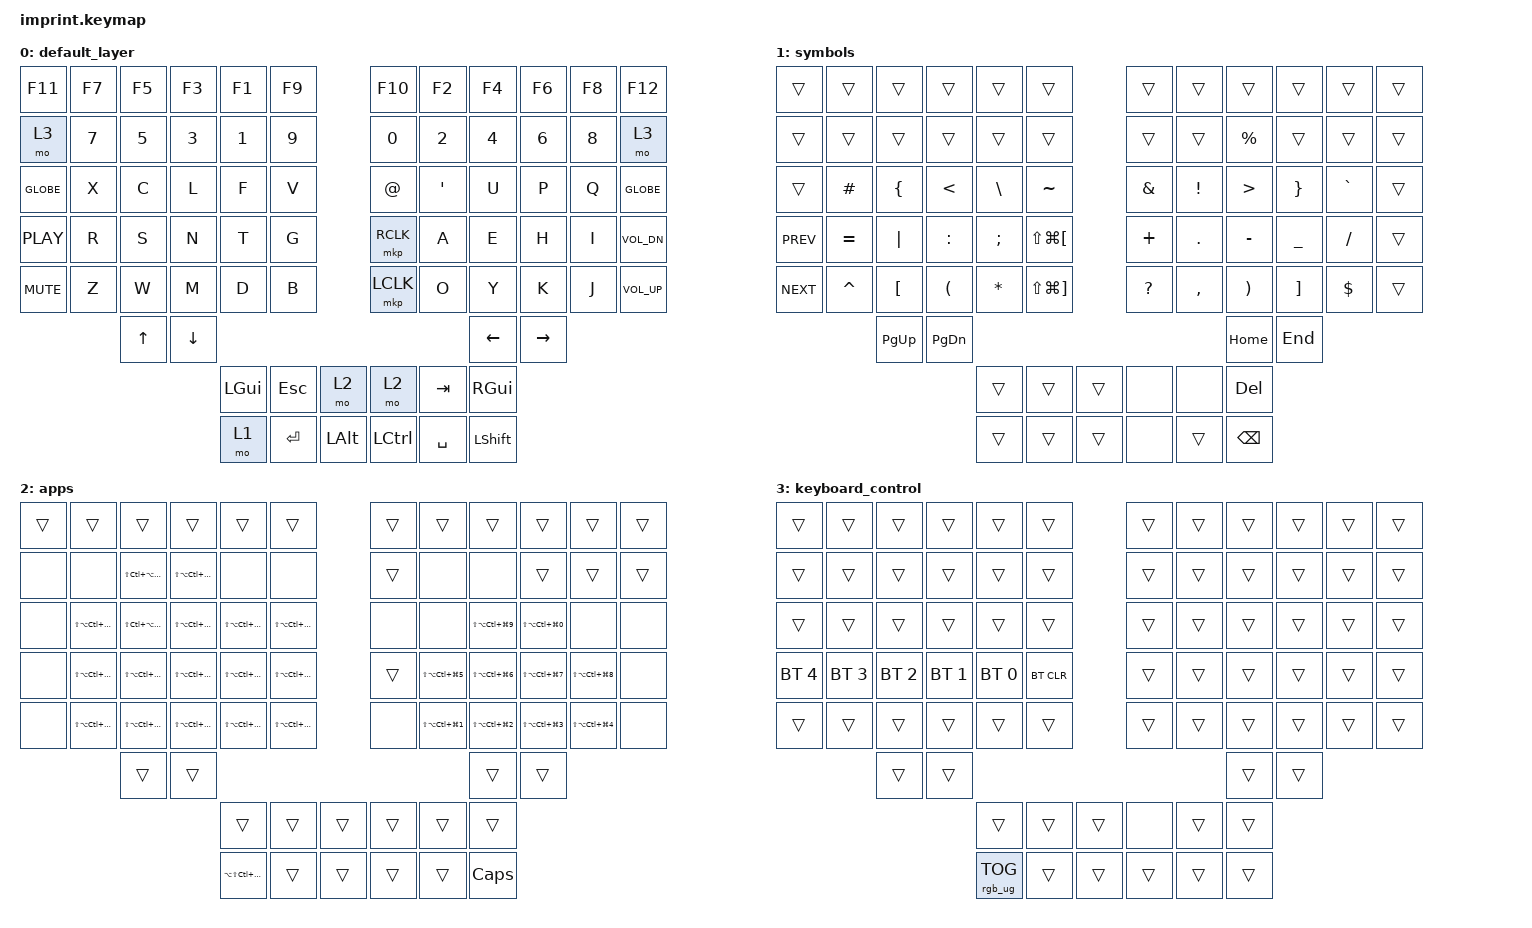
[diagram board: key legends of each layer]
#include <input/processors.dtsi>
#include <dt-bindings/zmk/input_transform.h>
#include <behaviors.dtsi>
#include <dt-bindings/zmk/bt.h>
#include <dt-bindings/zmk/keys.h>
#include <dt-bindings/zmk/pointing.h>
#include <dt-bindings/zmk/rgb.h>

/ {
    chosen { zmk,matrix-transform = &imprint_function_row; };

    keymap {
        compatible = "zmk,keymap";

        default_layer {
            bindings = <
&kp F11     &kp F7  &kp F5  &kp F3    &kp F1    &kp F9               &kp F10    &kp F2     &kp F4      &kp F6     &kp F8  &kp F12
&mo 3       &kp N7  &kp N5  &kp N3    &kp N1    &kp N9               &kp N0     &kp N2     &kp N4      &kp N6     &kp N8  &mo 3
&kp GLOBE   &kp X   &kp C   &kp L     &kp F     &kp V                &kp AT     &kp SQT    &kp U       &kp P      &kp Q   &kp GLOBE
&kp C_PLAY  &kp R   &kp S   &kp N     &kp T     &kp G                &mkp RCLK  &kp A      &kp E       &kp H      &kp I   &kp C_VOL_DN
&kp K_MUTE  &kp Z   &kp W   &kp M     &kp D     &kp B                &mkp LCLK  &kp O      &kp Y       &kp K      &kp J   &kp C_VOLUME_UP
                    &kp UP  &kp DOWN                                                       &kp LEFT    &kp RIGHT
                                      &kp LGUI  &kp ESC  &mo 2       &mo 2      &kp TAB    &kp RGUI
                                      &mo 1     &kp RET  &kp LALT    &kp LCTRL  &kp SPACE  &kp LSHIFT
            >;
        };

        symbols {
            bindings = <
&trans      &trans     &trans            &trans                &trans        &trans                               &trans        &trans      &trans                 &trans             &trans      &trans
&trans      &trans     &trans            &trans                &trans        &trans                               &trans        &trans      &kp PERCENT            &trans             &trans      &trans
&trans      &kp HASH   &kp LEFT_BRACE    &kp LESS_THAN         &kp BSLH      &kp TILDE                            &kp AMPS      &kp EXCL    &kp GREATER_THAN       &kp RIGHT_BRACE    &kp GRAVE   &trans
&kp C_PREV  &kp EQUAL  &kp PIPE          &kp COLON             &kp SEMI      &kp LS(LG(LEFT_BRACKET))             &kp PLUS      &kp PERIOD  &kp MINUS              &kp UNDER          &kp SLASH   &trans
&kp C_NEXT  &kp CARET  &kp LEFT_BRACKET  &kp LEFT_PARENTHESIS  &kp ASTERISK  &kp LS(LG(RIGHT_BRACKET))            &kp QUESTION  &kp COMMA   &kp RIGHT_PARENTHESIS  &kp RIGHT_BRACKET  &kp DOLLAR  &trans
                       &kp PAGE_UP       &kp PAGE_DOWN                                                                                      &kp HOME               &kp END
                                                               &trans        &trans                     &trans    &none         &none       &kp DEL
                                                               &trans        &trans                     &trans    &none         &trans      &kp BSPC
            >;
        };

        apps {
            bindings = <
&trans  &trans                   &trans                   &trans                   &trans                   &trans                             &trans  &trans                  &trans                  &trans                  &trans                  &trans
&none   &none                    &kp LS(LC(LA(LG(F19))))  &kp LS(LA(LC(LG(F18))))  &none                    &none                              &trans  &none                   &none                   &trans                  &trans                  &trans
&none   &kp LS(LA(LC(LG(F6))))   &kp LS(LC(LA(LG(F5))))   &kp LS(LA(LC(LG(F4))))   &kp LS(LA(LC(LG(F3))))   &kp LS(LA(LC(LG(F2))))             &none   &none                   &kp LS(LA(LC(LG(N9))))  &kp LS(LA(LC(LG(N0))))  &none                   &none
&none   &kp LS(LA(LC(LG(F17))))  &kp LS(LA(LC(LG(F16))))  &kp LS(LA(LC(LG(F14))))  &kp LS(LA(LC(LG(F13))))  &kp LS(LA(LC(LG(F12))))            &trans  &kp LS(LA(LC(LG(N5))))  &kp LS(LA(LC(LG(N6))))  &kp LS(LA(LC(LG(N7))))  &kp LS(LA(LC(LG(N8))))  &none
&none   &kp LS(LA(LC(LG(F11))))  &kp LS(LA(LC(LG(F10))))  &kp LS(LA(LC(LG(F9))))   &kp LS(LA(LC(LG(F8))))   &kp LS(LA(LC(LG(F7))))             &none   &kp LS(LA(LC(LG(N1))))  &kp LS(LA(LC(LG(N2))))  &kp LS(LA(LC(LG(N3))))  &kp LS(LA(LC(LG(N4))))  &none
                                 &trans                   &trans                                                                                                               &trans                  &trans
                                                                                   &trans                   &trans                   &trans    &trans  &trans                  &trans
                                                                                   &kp LA(LS(LC(LG(F1))))   &trans                   &trans    &trans  &trans                  &kp CAPSLOCK
            >;
        };

        keyboard_control {
            bindings = <
&trans        &trans        &trans        &trans        &trans           &trans                &trans  &trans  &trans  &trans  &trans  &trans
&trans        &trans        &trans        &trans        &trans           &trans                &trans  &trans  &trans  &trans  &trans  &trans
&trans        &trans        &trans        &trans        &trans           &trans                &trans  &trans  &trans  &trans  &trans  &trans
&bt BT_SEL 4  &bt BT_SEL 3  &bt BT_SEL 2  &bt BT_SEL 1  &bt BT_SEL 0     &bt BT_CLR            &trans  &trans  &trans  &trans  &trans  &trans
&trans        &trans        &trans        &trans        &trans           &trans                &trans  &trans  &trans  &trans  &trans  &trans
                            &trans        &trans                                                               &trans  &trans
                                                        &trans           &trans      &trans    &none   &trans  &trans
                                                        &rgb_ug RGB_TOG  &trans      &trans    &trans  &trans  &trans
            >;
        };
    };
};

//right hand trackball configuration

&trackball_peripheral_listener {
    input-processors = <&zip_xy_scaler 1 1>;

    // this gets it to the default installation orientation,,,,,
    // <&zip_xy_transform INPUT_TRANSFORM_XY_SWAP>;
    // activate layer 3 within 500ms of the trackball moving
    // <&zip_temp_layer 3 500>;
};

//left hand trackball configuration

&trackball_central_listener {
    input-processors =
        // this gets it to the default installation orientation,,,,,,,,,,,,,,,,,,,,,,,,,,,,,,,,,,,,,,,,,,,,,,,,,,,,,,,,,,,,,,
        // <&zip_xy_transform INPUT_TRANSFORM_XY_SWAP>,,,,,,,,,,,,,,,,,,,,,,,,,,,,,,,,,,,,,,,,,,,,,,,,,,,,,,,,,,
        // multiply sensitivity by 1, divide by 3 (make it slower for scrolling),,,,,,,,,,,,,,,,,,,,,,,,,,,,,,,,,,,,,,,,,,,,,,,,,,,,,,,,,,,,,,
        <&zip_xy_scaler 1 100>,
        // make this trackball output scrolling events by default instead of cursor movement,,,,,,,,,,,,,,,,,,,,,,,,,,,,,,,,,,,,,,,,,,,,,,,,,,,,,,,,,,,,,,
        <&zip_xy_to_scroll_mapper>,
        // invert vertical scrolling so that the view moves in the same direction as the top of the trackball.,,,,,,,,,,,,,,,,,,,,,,,,,,,,,,,,,,,,,,,,,,,,,,,,,,,,,,,,,,,,,,
        <&zip_scroll_transform INPUT_TRANSFORM_Y_INVERT>;
};
